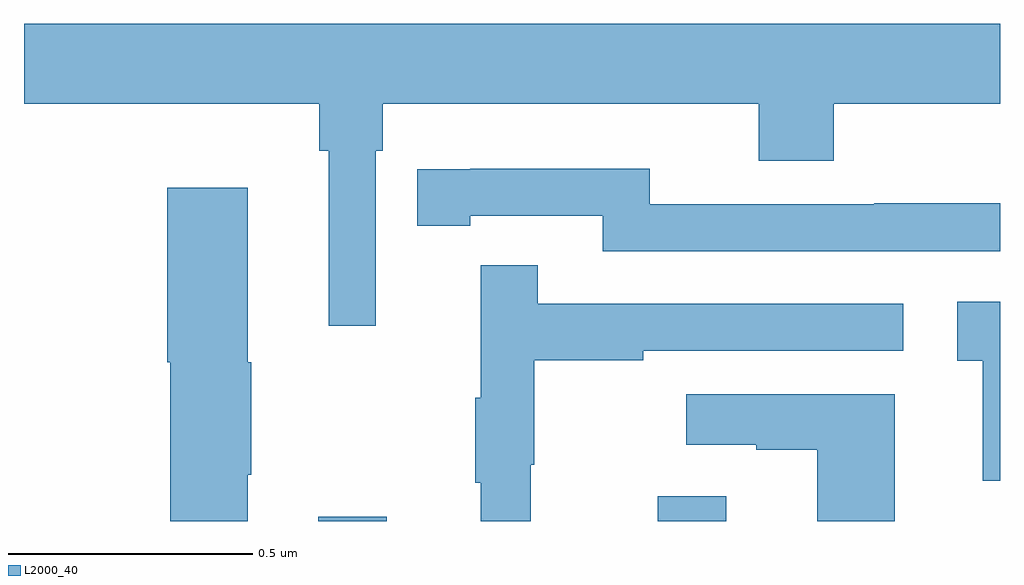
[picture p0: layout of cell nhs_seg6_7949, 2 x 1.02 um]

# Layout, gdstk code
import gdstk
lib = gdstk.Library(unit=1e-6, precision=1e-09)
def R(c, l, rs):  # rectangles x0, y0, x1, y1
    for r in rs: c.add(gdstk.rectangle(r[:2], r[2:], *l))
def P(c, l, *ps):  # polygons
    for p in ps: c.add(gdstk.Polygon(p, *l))
L2000_40 = (2000, 40)

nhs_seg6_7949 = lib.new_cell('nhs_seg6_7949')
R(nhs_seg6_7949, L2000_40, [(215.603,926.5,215.743,926.509), (216.299,926.5,216.439,926.551)])
P(nhs_seg6_7949, L2000_40, [(215.721,927.26),(215.735,927.26),(215.735,927.356),(216.506,927.356),(216.506,927.239),(216.659,927.239),(216.659,927.356),(217,927.356),(217,927.52),(215,927.52),(215,927.356),(215.605,927.356),(215.605,927.26),(215.624,927.26),(215.624,926.901),(215.721,926.901)],
  [(217,927.152),(216.742,927.152),(216.742,927.15),(216.282,927.15),(216.282,927.223),(215.914,927.223),(215.914,927.222),(215.806,927.222),(215.806,927.106),(215.914,927.106),(215.914,927.126),(216.186,927.126),(216.186,927.054),(217,927.054)],
  [(215.458,926.596),(215.466,926.596),(215.466,926.826),(215.458,926.826),(215.458,927.184),(215.294,927.184),(215.294,926.826),(215.3,926.826),(215.3,926.5),(215.458,926.5)],
  [(216.038,926.616),(216.046,926.616),(216.046,926.83),(216.269,926.83),(216.269,926.85),(216.802,926.85),(216.802,926.946),(216.053,926.946),(216.053,927.025),(215.936,927.025),(215.936,926.753),(215.925,926.753),(215.925,926.579),(215.936,926.579),(215.936,926.5),(216.038,926.5)],
  [(217,926.95),(216.912,926.95),(216.912,926.829),(216.965,926.829),(216.965,926.583),(217,926.583)],
  [(216.784,926.761),(216.357,926.761),(216.357,926.657),(216.5,926.657),(216.5,926.647),(216.626,926.647),(216.626,926.5),(216.784,926.5)])

lib.write_gds('nhs_seg6_7949.gds')
